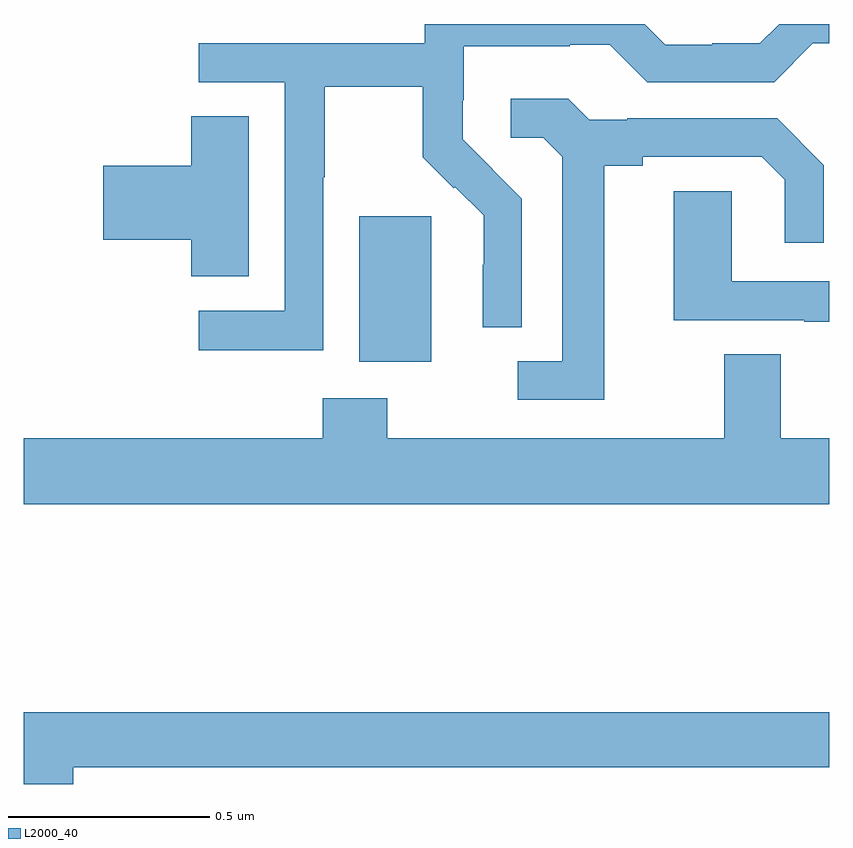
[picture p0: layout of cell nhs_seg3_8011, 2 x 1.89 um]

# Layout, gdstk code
import gdstk
lib = gdstk.Library(unit=1e-6, precision=1e-09)
def R(c, l, rs):  # rectangles x0, y0, x1, y1
    for r in rs: c.add(gdstk.rectangle(r[:2], r[2:], *l))
def P(c, l, *ps):  # polygons
    for p in ps: c.add(gdstk.Polygon(p, *l))
L2000_40 = (2000, 40)

nhs_seg3_8011 = lib.new_cell('nhs_seg3_8011')
R(nhs_seg3_8011, L2000_40, [(210.833,742.562,211.012,742.923)])
P(nhs_seg3_8011, L2000_40, [(210.744,743.02),(210.747,743.02),(210.747,743.244),(210.991,743.244),(210.991,743.069),(211.068,742.992),(211.071,742.995),(211.142,742.925),(211.142,742.802),(211.14,742.802),(211.14,742.648),(211.236,742.648),(211.236,742.966),(211.163,743.039),(211.164,743.04),(211.09,743.114),(211.09,743.211),(211.092,743.211),(211.092,743.345),(211.355,743.345),(211.355,743.349),(211.455,743.349),(211.548,743.256),(211.863,743.256),(211.959,743.352),(212,743.352),(212,743.4),(211.875,743.4),(211.827,743.352),(211.709,743.352),(211.709,743.349),(211.593,743.349),(211.542,743.4),(210.996,743.4),(210.996,743.352),(210.435,743.352),(210.435,743.256),(210.648,743.256),(210.648,742.689),(210.435,742.689),(210.435,742.591),(210.744,742.591)],
  [(211.441,743.048),(211.537,743.048),(211.537,743.07),(211.832,743.07),(211.889,743.013),(211.889,742.857),(211.986,742.857),(211.986,743.05),(211.87,743.166),(211.498,743.166),(211.498,743.163),(211.404,743.163),(211.352,743.215),(211.209,743.215),(211.209,743.118),(211.29,743.118),(211.337,743.071),(211.337,742.563),(211.227,742.563),(211.227,742.467),(211.441,742.467)],
  [(210.559,743.171),(210.416,743.171),(210.416,743.048),(210.198,743.048),(210.198,742.865),(210.416,742.865),(210.416,742.774),(210.559,742.774)],
  [(212,742.761),(211.758,742.761),(211.758,742.985),(211.613,742.985),(211.613,742.665),(211.937,742.665),(211.937,742.661),(212,742.661)],
  [(212,742.372),(211.879,742.372),(211.879,742.58),(211.739,742.58),(211.739,742.372),(210.903,742.372),(210.903,742.471),(210.743,742.471),(210.743,742.372),(210,742.372),(210,742.208),(212,742.208)],
  [(210.124,741.556),(212,741.556),(212,741.692),(210,741.692),(210,741.514),(210.124,741.514)])

lib.write_gds('nhs_seg3_8011.gds')
